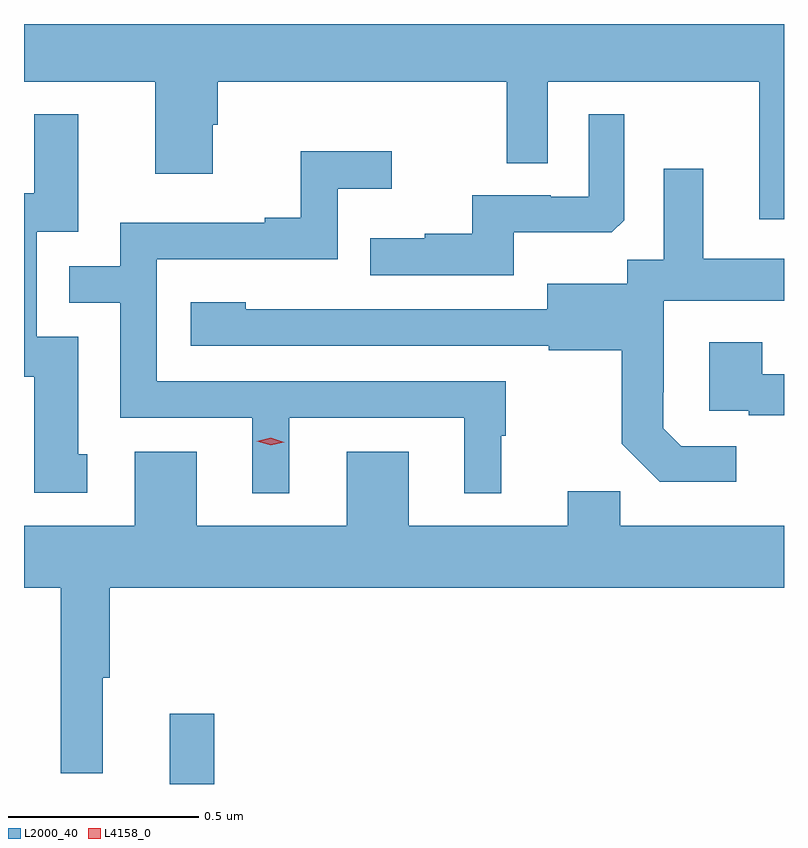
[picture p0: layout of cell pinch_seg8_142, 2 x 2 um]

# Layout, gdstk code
import gdstk
lib = gdstk.Library(unit=1e-6, precision=1e-09)
def R(c, l, rs):  # rectangles x0, y0, x1, y1
    for r in rs: c.add(gdstk.rectangle(r[:2], r[2:], *l))
def P(c, l, *ps):  # polygons
    for p in ps: c.add(gdstk.Polygon(p, *l))
L2000_40 = (2000, 40)
L4158_0 = (4158, 0)

pinch_seg8_142 = lib.new_cell('pinch_seg8_142')
R(pinch_seg8_142, L2000_40, [(769.514,1158.608,769.631,1158.793)])
P(pinch_seg8_142, L2000_40, [(771.13,1160.608),(769.13,1160.608),(769.13,1160.456),(769.475,1160.456),(769.475,1160.214),(769.627,1160.214),(769.627,1160.343),(769.64,1160.343),(769.64,1160.456),(770.4,1160.456),(770.4,1160.242),(770.508,1160.242),(770.508,1160.456),(771.065,1160.456),(771.065,1160.094),(771.13,1160.094)],
  [(769.297,1159.476),(769.273,1159.476),(769.273,1159.785),(769.164,1159.785),(769.164,1160.061),(769.273,1160.061),(769.273,1160.371),(769.157,1160.371),(769.157,1160.162),(769.13,1160.162),(769.13,1159.68),(769.157,1159.68),(769.157,1159.374),(769.297,1159.374)],
  [(770.419,1160.06),(770.677,1160.06),(770.709,1160.091),(770.709,1160.371),(770.616,1160.371),(770.616,1160.154),(770.516,1160.154),(770.516,1160.157),(770.309,1160.157),(770.309,1160.056),(770.185,1160.056),(770.185,1160.044),(770.041,1160.044),(770.041,1159.947),(770.419,1159.947)],
  [(769.828,1159.572),(770.288,1159.572),(770.288,1159.373),(770.386,1159.373),(770.386,1159.524),(770.398,1159.524),(770.398,1159.668),(769.479,1159.668),(769.479,1159.989),(769.956,1159.989),(769.956,1160.174),(770.098,1160.174),(770.098,1160.273),(769.858,1160.273),(769.858,1160.098),(769.763,1160.098),(769.763,1160.085),(769.383,1160.085),(769.383,1159.971),(769.249,1159.971),(769.249,1159.875),(769.383,1159.875),(769.383,1159.572),(769.73,1159.572),(769.73,1159.373),(769.828,1159.373)],
  [(771.004,1159.497),(770.859,1159.497),(770.812,1159.544),(770.812,1159.639),(770.814,1159.639),(770.814,1159.88),(771.13,1159.88),(771.13,1159.99),(770.917,1159.99),(770.917,1160.227),(770.813,1160.227),(770.813,1159.988),(770.718,1159.988),(770.718,1159.924),(770.507,1159.924),(770.507,1159.857),(769.949,1159.857),(769.949,1159.858),(769.713,1159.858),(769.713,1159.876),(769.569,1159.876),(769.569,1159.761),(770.511,1159.761),(770.511,1159.749),(770.703,1159.749),(770.703,1159.503),(770.803,1159.403),(771.004,1159.403)],
  [(771.13,1159.686),(771.073,1159.686),(771.073,1159.771),(770.933,1159.771),(770.933,1159.59),(771.037,1159.59),(771.037,1159.578),(771.13,1159.578)],
  [(769.337,1158.888),(769.355,1158.888),(769.355,1159.124),(771.13,1159.124),(771.13,1159.288),(770.699,1159.288),(770.699,1159.379),(770.561,1159.379),(770.561,1159.288),(770.143,1159.288),(770.143,1159.483),(769.979,1159.483),(769.979,1159.288),(769.585,1159.288),(769.585,1159.483),(769.421,1159.483),(769.421,1159.288),(769.13,1159.288),(769.13,1159.124),(769.227,1159.124),(769.227,1158.636),(769.337,1158.636)])
P(pinch_seg8_142, L4158_0, [(769.779,1159.499),(769.743,1159.51),(769.743,1159.51),(769.743,1159.51),(769.779,1159.519),(769.815,1159.508),(769.815,1159.508),(769.815,1159.508)])

lib.write_gds('pinch_seg8_142.gds')
